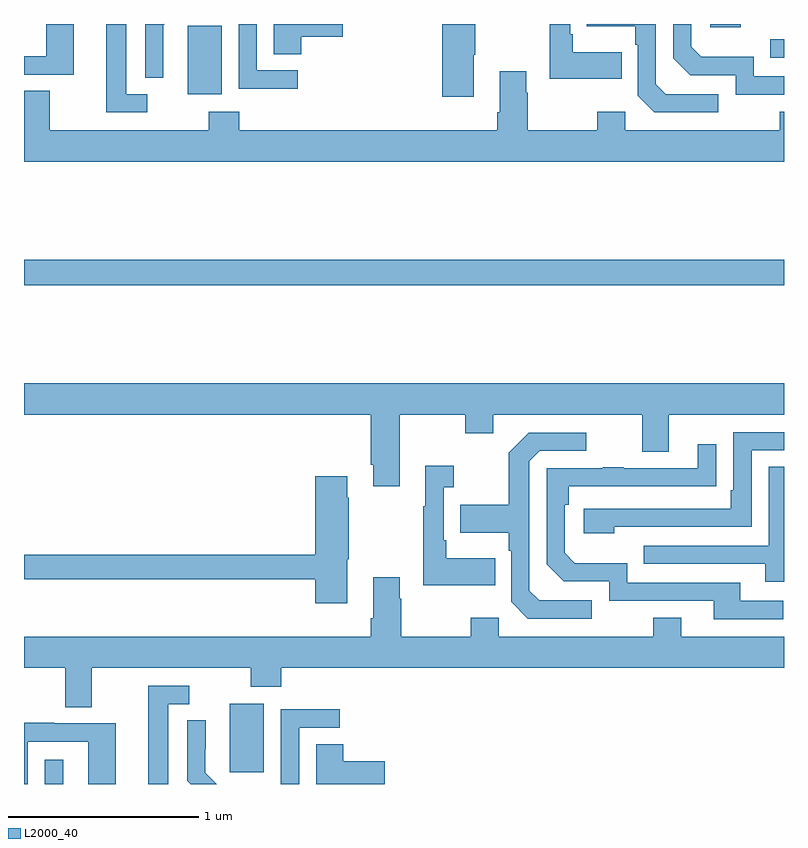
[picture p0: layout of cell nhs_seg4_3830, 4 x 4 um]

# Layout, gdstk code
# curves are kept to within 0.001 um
import gdstk
lib = gdstk.Library(unit=1e-6, precision=1e-09)
def R(c, l, rs):  # rectangles x0, y0, x1, y1
    for r in rs: c.add(gdstk.rectangle(r[:2], r[2:], *l))
def P(c, l, *ps):  # polygons
    for p in ps: c.add(gdstk.Polygon(p, *l))
L2000_40 = (2000, 40)

nhs_seg4_3830 = lib.new_cell('nhs_seg4_3830')
R(nhs_seg4_3830, L2000_40, [(313.11,770.9,313.207,771.028), (314.084,770.961,314.263,771.322), (313,773.524,317,773.66), (313.862,774.53,314.041,774.891), (316.927,774.723,317,774.819), (316.611,774.884,316.772,774.9)])
P(nhs_seg4_3830, L2000_40, [(314.44,774.657),(314.226,774.657),(314.226,774.9),(314.13,774.9),(314.13,774.559),(314.44,774.559)],
  [(313.734,774.77),(313.733,774.77),(313.733,774.893),(313.74,774.9),(313.638,774.9),(313.638,774.616),(313.734,774.616)],
  [(313.261,774.9),(313.116,774.9),(313.116,774.729),(313,774.729),(313,774.633),(313.261,774.633)],
  [(313.648,774.531),(313.537,774.531),(313.537,774.9),(313.433,774.9),(313.433,774.435),(313.648,774.435)],
  [(317,774.624),(316.842,774.624),(316.842,774.727),(316.565,774.727),(316.512,774.78),(316.512,774.9),(316.416,774.9),(316.416,774.72),(316.506,774.63),(316.746,774.63),(316.746,774.528),(317,774.528)],
  [(316.145,774.751),(315.889,774.751),(315.889,774.847),(315.876,774.847),(315.876,774.9),(315.768,774.9),(315.768,774.611),(316.145,774.611)],
  [(314.459,774.833),(314.677,774.833),(314.677,774.9),(314.315,774.9),(314.315,774.742),(314.459,774.742)],
  [(316.654,774.531),(316.377,774.531),(316.326,774.582),(316.326,774.9),(315.961,774.9),(315.961,774.887),(316.218,774.887),(316.218,774.791),(316.23,774.791),(316.23,774.522),(316.317,774.435),(316.654,774.435)],
  [(315.367,774.739),(315.375,774.739),(315.375,774.9),(315.2,774.9),(315.2,774.516),(315.367,774.516)],
  [(317,774.439),(316.978,774.439),(316.978,774.34),(316.164,774.34),(316.164,774.439),(316.018,774.439),(316.018,774.34),(315.651,774.34),(315.651,774.539),(315.643,774.539),(315.643,774.652),(315.503,774.652),(315.503,774.436),(315.491,774.436),(315.491,774.34),(314.132,774.34),(314.132,774.439),(313.972,774.439),(313.972,774.34),(313.135,774.34),(313.135,774.548),(313,774.548),(313,774.176),(317,774.176)],
  [(314.977,772.844),(315.322,772.844),(315.322,772.745),(315.469,772.745),(315.469,772.844),(316.253,772.844),(316.253,772.65),(316.393,772.65),(316.393,772.844),(317,772.844),(317,773.008),(313,773.008),(313,772.844),(314.825,772.844),(314.825,772.579),(314.837,772.579),(314.837,772.467),(314.977,772.467)],
  [(316.106,772.254),(316.83,772.254),(316.83,772.656),(317,772.656),(317,772.752),(316.734,772.752),(316.734,772.447),(316.721,772.447),(316.721,772.35),(315.945,772.35),(315.945,772.22),(316.106,772.22)],
  [(315.988,771.867),(315.711,771.867),(315.66,771.918),(315.66,772.599),(315.714,772.653),(315.958,772.653),(315.958,772.749),(315.657,772.749),(315.552,772.643),(315.552,772.371),(315.295,772.371),(315.295,772.223),(315.552,772.223),(315.552,772.127),(315.564,772.127),(315.564,771.858),(315.651,771.771),(315.988,771.771)],
  [(316.996,771.864),(316.771,771.864),(316.771,771.96),(316.176,771.96),(316.176,772.063),(315.899,772.063),(315.846,772.116),(315.846,772.37),(315.866,772.37),(315.866,772.467),(316.643,772.468),(316.643,772.687),(316.547,772.687),(316.547,772.563),(316.157,772.563),(316.157,772.568),(316.045,772.568),(316.045,772.563),(315.75,772.563),(315.75,772.056),(315.84,771.966),(316.08,771.966),(316.08,771.864),(316.631,771.864),(316.631,771.768),(316.996,771.768)],
  [(315.479,772.087),(315.223,772.087),(315.223,772.183),(315.21,772.183),(315.21,772.463),(315.262,772.463),(315.262,772.576),(315.113,772.576),(315.113,772.363),(315.102,772.363),(315.102,771.947),(315.479,771.947)],
  [(317,772.571),(316.92,772.571),(316.92,772.155),(316.261,772.155),(316.261,772.059),(316.901,772.059),(316.901,771.965),(317,771.965)],
  [(314.701,772.083),(314.709,772.083),(314.709,772.406),(314.701,772.406),(314.701,772.519),(314.534,772.519),(314.534,772.106),(313,772.106),(313,771.978),(314.534,771.978),(314.534,771.852),(314.701,771.852)],
  [(313.357,771.512),(314.194,771.512),(314.194,771.413),(314.354,771.413),(314.354,771.512),(317,771.512),(317,771.676),(316.459,771.676),(316.459,771.775),(316.312,771.775),(316.312,771.676),(315.498,771.676),(315.498,771.775),(315.352,771.775),(315.352,771.676),(314.985,771.676),(314.985,771.875),(314.977,771.875),(314.977,771.988),(314.837,771.988),(314.837,771.772),(314.825,771.772),(314.825,771.676),(313,771.676),(313,771.512),(313.217,771.512),(313.217,771.304),(313.357,771.304)],
  [(313.759,771.321),(313.87,771.321),(313.87,771.417),(313.655,771.417),(313.655,770.9),(313.759,770.9)],
  [(314.448,771.195),(314.662,771.195),(314.662,771.294),(314.352,771.294),(314.352,770.9),(314.448,770.9)],
  [(314.005,770.909),(313.955,770.96),(313.955,771.082),(313.956,771.082),(313.956,771.236),(313.86,771.236),(313.86,770.918),(313.878,770.9),(314.014,770.9)],
  [(313.02,771.123),(313.338,771.123),(313.338,770.9),(313.483,770.9),(313.483,771.219),(313.159,771.219),(313.159,771.223),(313,771.223),(313,770.9),(313.02,770.9)],
  [(314.899,771.02),(314.681,771.02),(314.681,771.11),(314.537,771.11),(314.537,770.9),(314.899,770.9)])

lib.write_gds('nhs_seg4_3830.gds')
